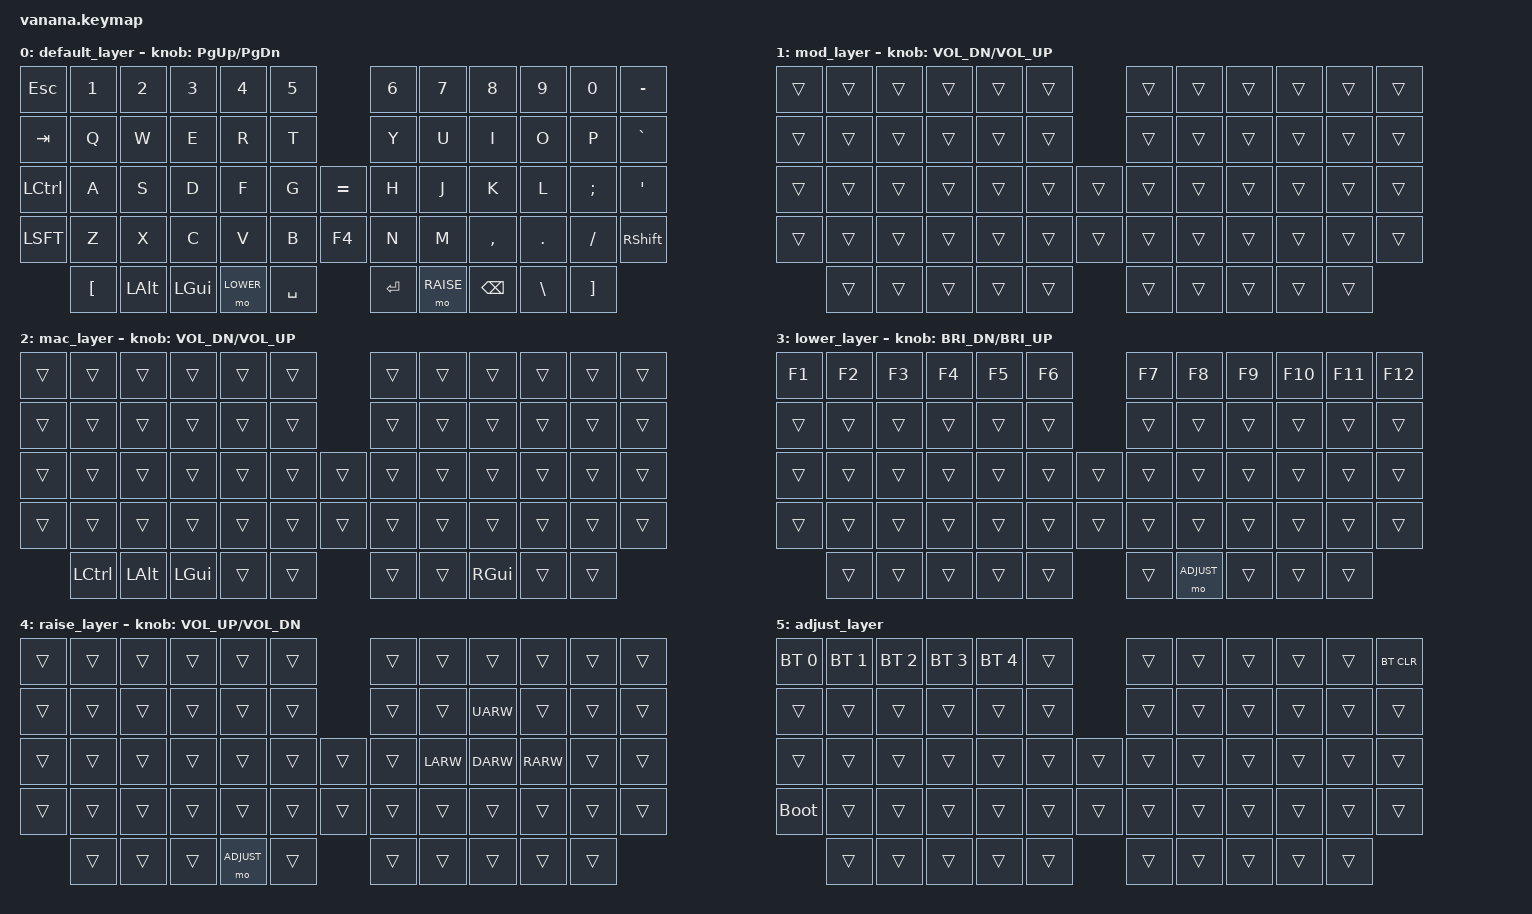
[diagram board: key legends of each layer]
/*
 * Copyright (c) 2020 dELLIKEEb
 *
 * SPDX-License-Identifier: MIT
 */

#include <behaviors.dtsi>
#include <dt-bindings/zmk/keys.h>
#include <dt-bindings/zmk/bt.h>
#include <dt-bindings/zmk/rgb.h>

// custom keycode defs for easier access
#define DEFAULT 0
#define MOD     1
#define MAC     2
#define LOWER   3
#define RAISE   4
#define ADJUST  5

// / {
//     behaviors {
//         hm: homerow_mods {
//             compatible = "zmk,behavior-hold-tap";
//             label = "homerow mods";
//             #binding-cells = <2>;
//             tapping_term_ms = <225>;
//             flavor = "tap-preferred";
//             bindings = <&kp>, <&kp>;
//         };
//     };
// };

// BASE
// -------------------------------------------               -------------------------------------------
// | Esc  |   1  |   2  |   3  |   4  |   5  |               |   6  |   7  |   8  |   9  |   0  | Dash |
// -------------------------------------------               -------------------------------------------
// | Tab  |   Q  |   W  |   E  |   R  |   T  |               |   Y  |   U  |   I  |   O  |   P  |Grave |
// -------------------------------------------   ---------  --------------------------------------------
// | Ctrl |   A  |   S  |   D  |   F  |   G  |   | Right |   |   H  |   J  |   K  |   L  |   ;  | Quot |
// -------------------------------------------   ---------   -------------------------------------------
// | Shift|   Z  |   X  |   C  |   V  |   B  |   | LEFT  |   |   N  |   M  |   ,  |   .  |   /  |Shift |
// -------------------------------------------   ---------   -------------------------------------------
//        | LBKT | Alt  |  GUI |Lower |Space |               | Enter|Raise |Bcksp |Bslsh | RBKT |
//        ------------------------------------               ------------------------------------
// 

/ {
    keymap {
        compatible = "zmk,keymap";

        default_layer {
            bindings = <
                &kp ESC     &kp N1      &kp N2      &kp N3      &kp N4    &kp N5                    &kp N6      &kp N7      &kp N8      &kp N9      &kp N0      &kp MINUS
                &kp TAB     &kp Q       &kp W       &kp E       &kp R     &kp T                     &kp Y       &kp U       &kp I       &kp O       &kp P       &kp GRAVE
                &kp LCTL    &kp A       &kp S       &kp D       &kp F     &kp G         &kp EQUAL   &kp H       &kp J       &kp K       &kp L       &kp SCLN    &kp SQT
                &kp LSFT    &kp Z       &kp X       &kp C       &kp V     &kp B         &kp F4      &kp N       &kp M       &kp CMMA    &kp DOT     &kp FSLH    &kp RSHFT
                            &kp LBKT    &kp LALT    &kp LGUI    &mo LOWER &kp SPC                   &kp RET     &mo RAISE   &kp BSPC    &kp BSLH    &kp RBKT
            >;
            sensor-bindings = <&inc_dec_kp PG_UP PG_DN>;
        };

        mod_layer {
            bindings = <
                &trans      &trans      &trans      &trans      &trans      &trans                  &trans      &trans      &trans      &trans      &trans      &trans
                &trans      &trans      &trans      &trans      &trans      &trans                  &trans      &trans      &trans      &trans      &trans      &trans
                &trans      &trans      &trans      &trans      &trans      &trans      &trans      &trans      &trans      &trans      &trans      &trans      &trans
                &trans      &trans      &trans      &trans      &trans      &trans      &trans      &trans      &trans      &trans      &trans      &trans      &trans
                            &trans      &trans      &trans      &trans      &trans                  &trans      &trans      &trans      &trans      &trans
            >;
            sensor-bindings = <&inc_dec_kp C_VOL_DN C_VOL_UP>;
        };

        mac_layer {
            bindings = <
                &trans      &trans      &trans      &trans      &trans      &trans                  &trans      &trans      &trans      &trans      &trans      &trans
                &trans      &trans      &trans      &trans      &trans      &trans                  &trans      &trans      &trans      &trans      &trans      &trans
                &trans      &trans      &trans      &trans      &trans      &trans      &trans      &trans      &trans      &trans      &trans      &trans      &trans
                &trans      &trans      &trans      &trans      &trans      &trans      &trans      &trans      &trans      &trans      &trans      &trans      &trans
                            &kp LCTL    &kp LALT    &kp LGUI    &trans      &trans                  &trans      &trans      &kp RGUI    &trans      &trans
            >;
            sensor-bindings = <&inc_dec_kp C_VOL_DN C_VOL_UP>;
        };

        lower_layer {
            bindings = <
                &kp F1      &kp F2      &kp F3      &kp F4      &kp F5      &kp F6                  &kp F7      &kp F8      &kp F9      &kp F10     &kp F11     &kp F12
                &trans      &trans      &trans      &trans      &trans      &trans                  &trans      &trans      &trans      &trans      &trans      &trans
                &trans      &trans      &trans      &trans      &trans      &trans      &trans      &trans      &trans      &trans      &trans      &trans      &trans
                &trans      &trans      &trans      &trans      &trans      &trans      &trans      &trans      &trans      &trans      &trans      &trans      &trans
                            &trans      &trans      &trans      &trans      &trans                  &trans      &mo ADJUST  &trans      &trans      &trans
            >;
            sensor-bindings = <&inc_dec_kp C_BRI_DN C_BRI_UP>;
        };

        raise_layer {
            bindings = <
                &trans      &trans      &trans      &trans      &trans      &trans                      &trans      &trans      &trans      &trans      &trans      &trans
                &trans      &trans      &trans      &trans      &trans      &trans                      &trans      &trans      &kp UARW    &trans      &trans      &trans
                &trans      &trans      &trans      &trans      &trans      &trans      &trans          &trans      &kp LARW    &kp DARW    &kp RARW    &trans      &trans
                &trans      &trans      &trans      &trans      &trans      &trans      &trans          &trans      &trans      &trans      &trans      &trans      &trans
                            &trans      &trans      &trans      &mo ADJUST  &trans                      &trans      &trans      &trans      &trans      &trans
            >;
            sensor-bindings = <&inc_dec_kp C_VOL_UP C_VOL_DN>;
        };
        
        adjust_layer {
            bindings = <
                &bt BT_SEL 0 &bt BT_SEL 1    &bt BT_SEL 2    &bt BT_SEL 3    &bt BT_SEL 4    &trans                          &trans      &trans      &trans      &trans      &trans      &bt BT_CLR     
                &trans       &trans          &trans          &trans          &trans          &trans                          &trans      &trans      &trans      &trans      &trans      &trans
                &trans       &trans          &trans          &trans          &trans          &trans          &trans          &trans      &trans      &trans      &trans      &trans      &trans
                &bootloader  &trans          &trans          &trans          &trans          &trans          &trans          &trans      &trans      &trans      &trans      &trans      &trans
                             &trans          &trans          &trans          &trans          &trans                          &trans      &trans      &trans      &trans      &trans
            >;
        };

    };
};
